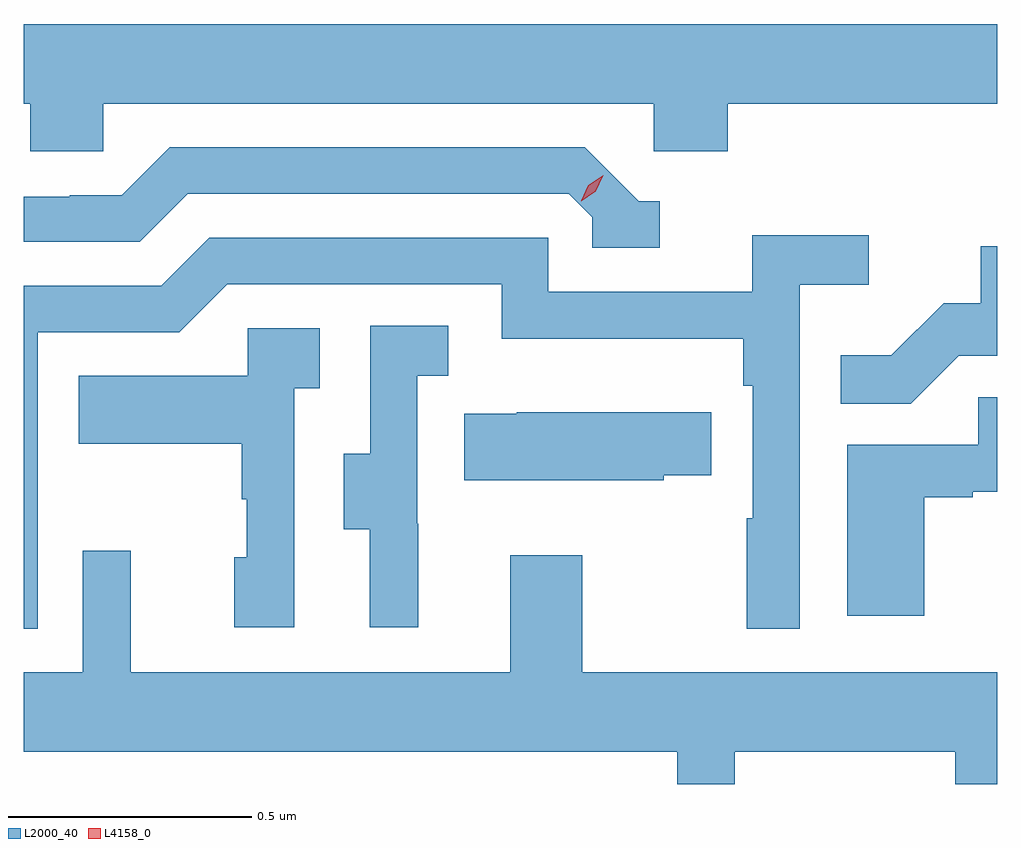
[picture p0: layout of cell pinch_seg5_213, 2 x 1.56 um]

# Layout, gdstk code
import gdstk
lib = gdstk.Library(unit=1e-6, precision=1e-09)
def P(c, l, *ps):  # polygons
    for p in ps: c.add(gdstk.Polygon(p, *l))
L2000_40 = (2000, 40)
L4158_0 = (4158, 0)

pinch_seg5_213 = lib.new_cell('pinch_seg5_213')
P(pinch_seg5_213, L2000_40, [(1004.973,908.708),(1006.104,908.708),(1006.104,908.61),(1006.256,908.61),(1006.256,908.708),(1006.81,908.708),(1006.81,908.872),(1004.81,908.872),(1004.81,908.708),(1004.823,908.708),(1004.823,908.61),(1004.973,908.61)],
  [(1006.117,908.508),(1006.074,908.508),(1005.963,908.619),(1005.11,908.619),(1005.011,908.52),(1004.904,908.52),(1004.904,908.517),(1004.81,908.517),(1004.81,908.424),(1005.048,908.424),(1005.147,908.523),(1005.93,908.523),(1005.978,908.475),(1005.978,908.412),(1006.117,908.412)],
  [(1004.838,908.238),(1005.129,908.238),(1005.228,908.337),(1005.792,908.337),(1005.792,908.225),(1006.288,908.225),(1006.288,908.129),(1006.308,908.129),(1006.308,907.856),(1006.296,907.856),(1006.296,907.629),(1006.404,907.629),(1006.404,908.336),(1006.546,908.336),(1006.546,908.438),(1006.307,908.438),(1006.307,908.322),(1005.888,908.322),(1005.888,908.433),(1005.191,908.433),(1005.092,908.334),(1004.81,908.334),(1004.81,907.629),(1004.838,907.629)],
  [(1006.731,908.19),(1006.81,908.19),(1006.81,908.415),(1006.777,908.415),(1006.777,908.298),(1006.7,908.298),(1006.593,908.191),(1006.489,908.191),(1006.489,908.092),(1006.633,908.092)],
  [(1005.62,907.845),(1005.618,907.845),(1005.618,908.149),(1005.682,908.149),(1005.682,908.252),(1005.522,908.252),(1005.522,907.989),(1005.467,907.989),(1005.467,907.834),(1005.521,907.834),(1005.521,907.632),(1005.62,907.632)],
  [(1005.366,908.123),(1005.418,908.123),(1005.418,908.247),(1005.27,908.247),(1005.27,908.149),(1004.923,908.149),(1004.923,908.009),(1005.258,908.009),(1005.258,907.895),(1005.268,907.895),(1005.268,907.776),(1005.242,907.776),(1005.242,907.632),(1005.366,907.632)],
  [(1006.66,907.899),(1006.76,907.899),(1006.76,907.911),(1006.81,907.911),(1006.81,908.105),(1006.771,908.105),(1006.771,908.007),(1006.502,908.007),(1006.502,907.656),(1006.66,907.656)],
  [(1006.125,907.945),(1006.223,907.945),(1006.223,908.074),(1005.823,908.074),(1005.823,908.071),(1005.715,908.071),(1005.715,907.934),(1006.125,907.934)],
  [(1006.271,907.376),(1006.724,907.376),(1006.724,907.31),(1006.81,907.31),(1006.81,907.54),(1005.957,907.54),(1005.957,907.78),(1005.809,907.78),(1005.809,907.54),(1005.029,907.54),(1005.029,907.789),(1004.931,907.789),(1004.931,907.54),(1004.81,907.54),(1004.81,907.376),(1006.153,907.376),(1006.153,907.31),(1006.271,907.31)])
P(pinch_seg5_213, L4158_0, [(1005.955,908.508),(1005.955,908.509),(1005.97,908.541),(1006.001,908.561),(1006.001,908.561),(1006.001,908.561),(1005.985,908.528),(1005.955,908.508)])

lib.write_gds('pinch_seg5_213.gds')
